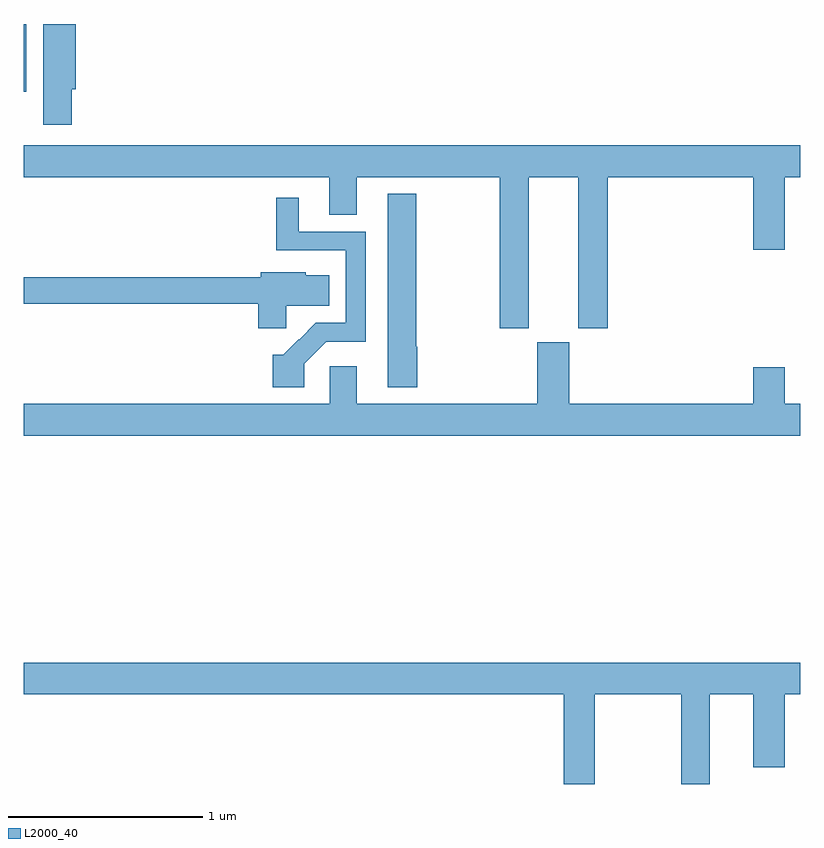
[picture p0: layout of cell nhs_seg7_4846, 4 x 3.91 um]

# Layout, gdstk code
import gdstk
lib = gdstk.Library(unit=1e-6, precision=1e-09)
def R(c, l, rs):  # rectangles x0, y0, x1, y1
    for r in rs: c.add(gdstk.rectangle(r[:2], r[2:], *l))
def P(c, l, *ps):  # polygons
    for p in ps: c.add(gdstk.Polygon(p, *l))
L2000_40 = (2000, 40)

nhs_seg7_4846 = lib.new_cell('nhs_seg7_4846')
R(nhs_seg7_4846, L2000_40, [(413,1071.651,413.013,1072)])
P(nhs_seg7_4846, L2000_40, [(413.249,1071.663),(413.27,1071.663),(413.27,1072),(413.102,1072),(413.102,1071.48),(413.249,1071.48)],
  [(413,1071.212),(414.575,1071.212),(414.575,1071.018),(414.715,1071.018),(414.715,1071.212),(415.453,1071.212),(415.453,1070.433),(415.6,1070.433),(415.6,1071.212),(415.856,1071.212),(415.856,1070.433),(416.009,1070.433),(416.009,1071.212),(416.756,1071.212),(416.756,1070.838),(416.92,1070.838),(416.92,1071.212),(417,1071.212),(417,1071.376),(413,1071.376)],
  [(415.028,1070.339),(415.023,1070.339),(415.023,1071.127),(414.875,1071.127),(414.875,1070.129),(415.028,1070.129)],
  [(414.444,1070.25),(414.558,1070.364),(414.763,1070.364),(414.763,1070.931),(414.418,1070.931),(414.418,1071.106),(414.301,1071.106),(414.301,1070.835),(414.659,1070.835),(414.659,1070.461),(414.505,1070.461),(414.419,1070.374),(414.417,1070.376),(414.337,1070.296),(414.284,1070.296),(414.284,1070.13),(414.444,1070.13)],
  [(414.353,1070.549),(414.574,1070.549),(414.574,1070.707),(414.453,1070.707),(414.453,1070.722),(414.221,1070.722),(414.221,1070.696),(413,1070.696),(413,1070.56),(414.209,1070.56),(414.209,1070.433),(414.353,1070.433)],
  [(417,1070.044),(416.92,1070.044),(416.92,1070.233),(416.756,1070.233),(416.756,1070.044),(415.81,1070.044),(415.81,1070.361),(415.646,1070.361),(415.646,1070.044),(414.715,1070.044),(414.715,1070.239),(414.576,1070.239),(414.576,1070.044),(413,1070.044),(413,1069.88),(417,1069.88)],
  [(415.941,1068.548),(416.386,1068.548),(416.386,1068.087),(416.533,1068.087),(416.533,1068.548),(416.756,1068.548),(416.756,1068.174),(416.92,1068.174),(416.92,1068.548),(417,1068.548),(417,1068.712),(413,1068.712),(413,1068.548),(415.781,1068.548),(415.781,1068.087),(415.941,1068.087)])

lib.write_gds('nhs_seg7_4846.gds')
